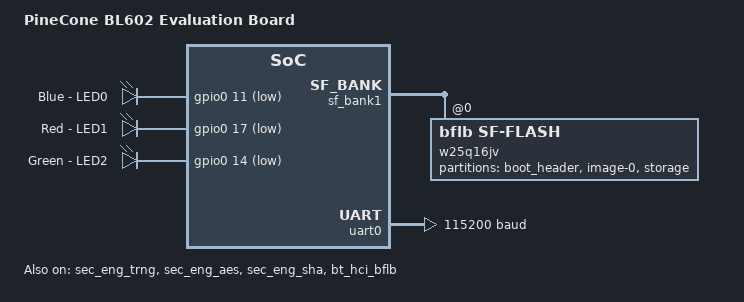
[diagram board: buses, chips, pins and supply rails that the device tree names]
/*
 * Copyright (c) 2026 MASSDRIVER EI (massdriver.space)
 *
 * SPDX-License-Identifier: Apache-2.0
 */

/dts-v1/;

#include <bflb/bl602.dtsi>
#include <bflb/bl60x_em_8kb.dtsi>
#include "pinecone-pinctrl.dtsi"

/ {
	model = "PineCone BL602 Evaluation Board";
	compatible = "bflb,bl602";

	chosen {
		zephyr,flash = &w25q16jv;
		zephyr,flash-controller = &sf_bank1;
		zephyr,code-partition = &slot0_partition;
		zephyr,itcm = &itcm;
		zephyr,sram = &all_ram;
		zephyr,console = &uart0;
		zephyr,shell-uart = &uart0;
		zephyr,entropy = &sec_eng_trng;
		zephyr,bt-hci = &bt_hci_bflb;
	};

	aliases {
		watchdog0 = &wdt0;
		led0 = &red_led;
		led1 = &green_led;
		led2 = &blue_led;
		pwm-led0 = &red_pwm_led;
		pwm-led1 = &green_pwm_led;
		pwm-led2 = &blue_pwm_led;
	};

	leds {
		compatible = "gpio-leds";

		blue_led: led_0 {
			gpios = <&gpio0 11 GPIO_ACTIVE_LOW>;
			label = "Blue - LED0";
		};

		red_led: led_1 {
			gpios = <&gpio0 17 GPIO_ACTIVE_LOW>;
			label = "Red - LED1";
		};

		green_led: led_2 {
			gpios = <&gpio0 14 GPIO_ACTIVE_LOW>;
			label = "Green - LED2";
		};
	};

	pwmleds: pwmleds {
		compatible = "pwm-leds";
		status = "disabled";

		blue_pwm_led: led_pwm_0 {
			pwms = <&pwm0 1 PWM_MSEC(1) PWM_POLARITY_INVERTED>;
			label = "Blue - LED0 PWM";
		};

		red_pwm_led: led_pwm_1 {
			pwms = <&pwm0 2 PWM_MSEC(1) PWM_POLARITY_INVERTED>;
			label = "Red - LED1 PWM";
		};

		green_pwm_led: led_pwm_2 {
			pwms = <&pwm0 4 PWM_MSEC(1) PWM_POLARITY_INVERTED>;
			label = "Green - LED2 PWM";
		};
	};
};

&cpu0 {
	clock-frequency = <DT_FREQ_M(192)>;
};

&sf_bank1 {
	reg = <0x23000000 0x200000>;
	ranges = <0x0 0x23000000 0x200000>;

	w25q16jv: flash@0 {
		compatible = "bflb,sf-flash", "soc-nv-flash";
		reg = <0 0x200000>;
		ranges;
		#address-cells = <1>;
		#size-cells = <1>;
		write-block-size = <4>;
		erase-block-size = <DT_SIZE_K(4)>;

		spi-bus-mode = <2>;
		sf-pad = <1>;
		jedec-id = [ef 40 15];

		partitions {
			ranges;
			#address-cells = <1>;
			#size-cells = <1>;

			boot_header_partition: partition@0 {
				compatible = "zephyr,mapped-partition";
				label = "boot_header";
				reg = <0x00000000 0x2000>;
				read-only;
			};

			slot0_partition: partition@2000 {
				compatible = "zephyr,mapped-partition";
				label = "image-0";
				reg = <0x00002000 (0x00180000 - 0x2000)>;
				read-only;
			};

			storage_partition: partition@180000 {
				compatible = "zephyr,mapped-partition";
				label = "storage";
				reg = <0x00180000 0x80000>;
			};
		};
	};
};

&uart0 {
	status = "okay";
	current-speed = <115200>;

	pinctrl-0 = <&uart0_default>;
	pinctrl-1 = <&uart0_sleep>;
	pinctrl-names = "default", "sleep";
};

&gpio0 {
	status = "okay";
};

&pwm0 {
	pinctrl-0 = <&pwm0_default>;
	pinctrl-names = "default";
};

&sec_eng_trng {
	status = "okay";
};

&sec_eng_aes {
	status = "okay";
};

&sec_eng_sha {
	status = "okay";
};

&bt_hci_bflb {
	status = "okay";
};
